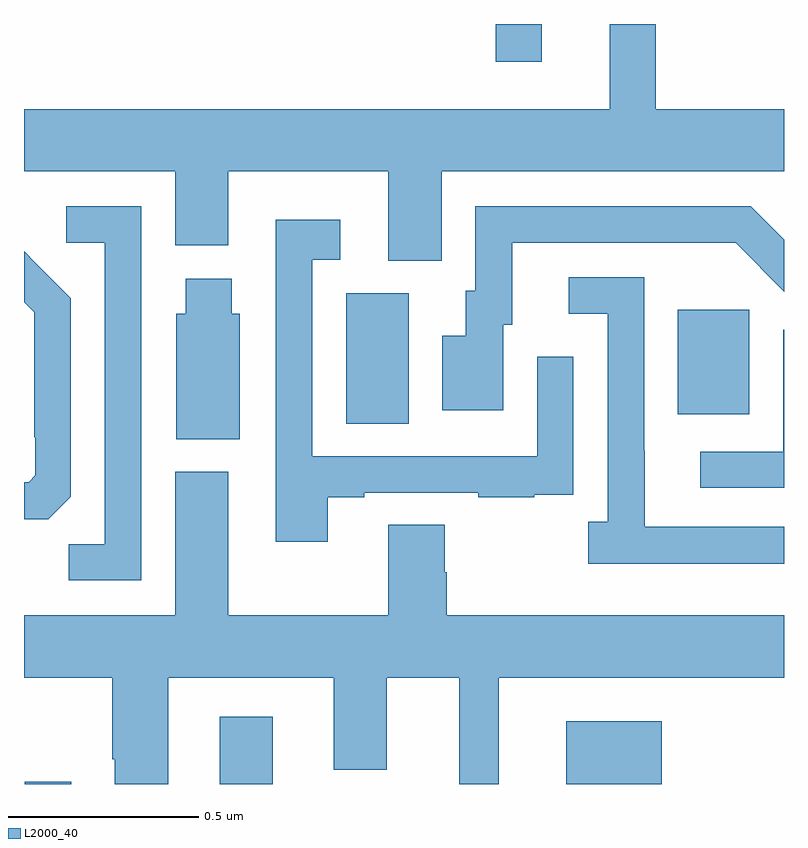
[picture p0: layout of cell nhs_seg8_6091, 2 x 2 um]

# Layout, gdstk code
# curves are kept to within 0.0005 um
import gdstk
lib = gdstk.Library(unit=1e-6, precision=1e-09)
def R(c, l, rs):  # rectangles x0, y0, x1, y1
    for r in rs: c.add(gdstk.rectangle(r[:2], r[2:], *l))
def P(c, l, *ps):  # polygons
    for p in ps: c.add(gdstk.Polygon(p, *l))
L2000_40 = (2000, 40)

nhs_seg8_6091 = lib.new_cell('nhs_seg8_6091')
R(nhs_seg8_6091, L2000_40, [(192.002,1102.9,192.124,1102.906), (192.515,1102.9,192.655,1103.077), (193.427,1102.9,193.678,1103.065), (192.848,1103.848,193.012,1104.192), (193.721,1103.873,193.909,1104.148), (193.242,1104.801,193.363,1104.9)])
P(nhs_seg8_6091, L2000_40, [(193.099,1104.512),(194,1104.512),(194,1104.676),(193.663,1104.676),(193.663,1104.9),(193.541,1104.9),(193.541,1104.676),(192,1104.676),(192,1104.512),(192.398,1104.512),(192.398,1104.318),(192.538,1104.318),(192.538,1104.512),(192.959,1104.512),(192.959,1104.277),(193.099,1104.277)],
  [(193.261,1104.108),(193.285,1104.108),(193.285,1104.324),(193.873,1104.324),(194,1104.196),(194,1104.332),(193.912,1104.42),(193.188,1104.42),(193.188,1104.198),(193.163,1104.198),(193.163,1104.079),(193.1,1104.079),(193.1,1103.883),(193.261,1103.883)],
  [(192.309,1104.42),(192.111,1104.42),(192.111,1104.324),(192.213,1104.324),(192.213,1103.531),(192.118,1103.531),(192.118,1103.436),(192.309,1103.436)],
  [(192.799,1103.655),(192.895,1103.655),(192.895,1103.667),(193.195,1103.667),(193.195,1103.655),(193.343,1103.655),(193.343,1103.661),(193.445,1103.661),(193.445,1103.77),(193.446,1103.77),(193.446,1104.025),(193.35,1104.025),(193.35,1103.763),(192.759,1103.763),(192.759,1104.279),(192.832,1104.279),(192.832,1104.385),(192.663,1104.385),(192.663,1103.538),(192.799,1103.538)],
  [(192.123,1103.656),(192.123,1104.178),(192,1104.302),(192,1104.168),(192.027,1104.141),(192.027,1103.812),(192.03,1103.812),(192.03,1103.712),(192.012,1103.694),(192,1103.694),(192,1103.597),(192.064,1103.597)],
  [(194,1103.577),(193.633,1103.577),(193.633,1103.777),(193.632,1103.777),(193.632,1104.234),(193.434,1104.234),(193.434,1104.138),(193.536,1104.138),(193.536,1103.59),(193.485,1103.59),(193.485,1103.48),(194,1103.48)],
  [(192.568,1104.138),(192.547,1104.138),(192.547,1104.229),(192.425,1104.229),(192.425,1104.138),(192.401,1104.138),(192.401,1103.807),(192.568,1103.807)],
  [(194,1104.095),(193.998,1104.095),(193.998,1103.775),(193.779,1103.775),(193.779,1103.679),(194,1103.679)],
  [(192.379,1103.18),(192.815,1103.18),(192.815,1102.937),(192.955,1102.937),(192.955,1103.18),(193.145,1103.18),(193.145,1102.9),(193.249,1102.9),(193.249,1103.18),(194,1103.18),(194,1103.344),(193.112,1103.344),(193.112,1103.457),(193.107,1103.457),(193.107,1103.582),(192.959,1103.582),(192.959,1103.344),(192.538,1103.344),(192.538,1103.722),(192.398,1103.722),(192.398,1103.344),(192,1103.344),(192,1103.18),(192.232,1103.18),(192.232,1102.965),(192.239,1102.965),(192.239,1102.9),(192.379,1102.9)])

lib.write_gds('nhs_seg8_6091.gds')
